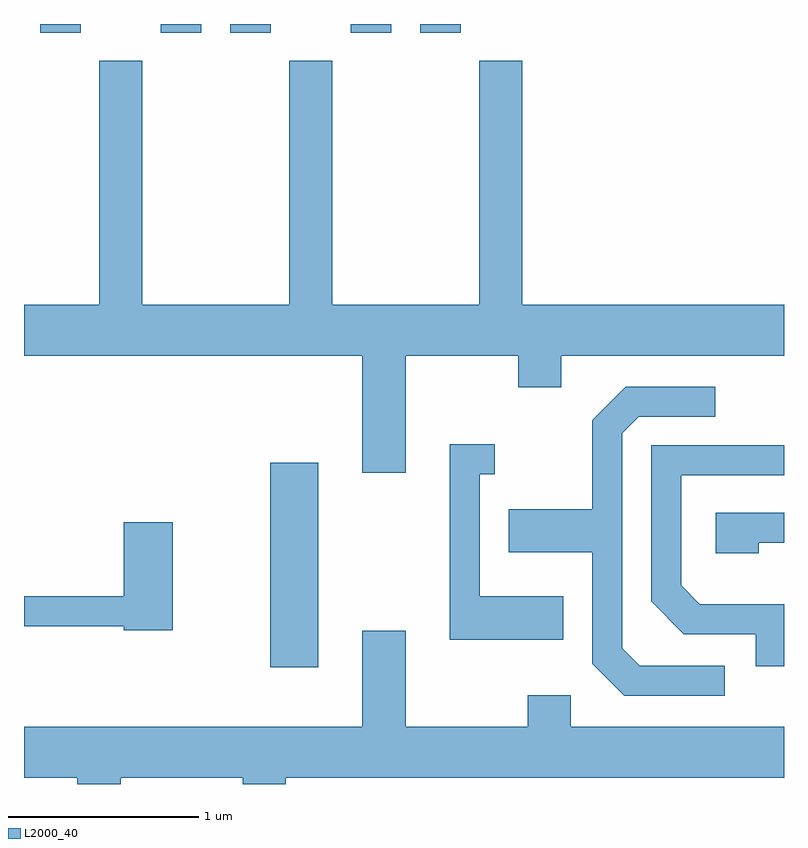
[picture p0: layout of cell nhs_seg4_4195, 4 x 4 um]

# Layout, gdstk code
import gdstk
lib = gdstk.Library(unit=1e-6, precision=1e-09)
def R(c, l, rs):  # rectangles x0, y0, x1, y1
    for r in rs: c.add(gdstk.rectangle(r[:2], r[2:], *l))
def P(c, l, *ps):  # polygons
    for p in ps: c.add(gdstk.Polygon(p, *l))
L2000_40 = (2000, 40)

nhs_seg4_4195 = lib.new_cell('nhs_seg4_4195')
R(nhs_seg4_4195, L2000_40, [(308.906,1348.596,309.159,1349.674), (307.696,1351.936,307.909,1351.982), (308.331,1351.936,308.544,1351.982), (308.696,1351.936,308.909,1351.982), (309.331,1351.936,309.544,1351.982), (309.696,1351.936,309.909,1351.982)])
P(nhs_seg4_4195, L2000_40, [(309.619,1350.236),(310.211,1350.236),(310.211,1350.071),(310.439,1350.071),(310.439,1350.236),(311.611,1350.236),(311.611,1350.504),(310.234,1350.504),(310.234,1351.789),(310.006,1351.789),(310.006,1350.504),(309.234,1350.504),(309.234,1351.789),(309.006,1351.789),(309.006,1350.504),(308.234,1350.504),(308.234,1351.789),(308.006,1351.789),(308.006,1350.504),(307.611,1350.504),(307.611,1350.236),(309.391,1350.236),(309.391,1349.621),(309.619,1349.621)],
  [(311.298,1348.604),(310.852,1348.604),(310.759,1348.697),(310.759,1349.829),(310.847,1349.916),(311.248,1349.916),(311.248,1350.074),(310.779,1350.074),(310.601,1349.897),(310.601,1349.429),(310.161,1349.429),(310.161,1349.201),(310.601,1349.201),(310.601,1348.614),(310.769,1348.446),(311.298,1348.446)],
  [(310.449,1348.969),(310.009,1348.969),(310.009,1349.611),(310.088,1349.611),(310.088,1349.769),(309.851,1349.769),(309.851,1348.741),(310.449,1348.741)],
  [(311.611,1348.929),(311.167,1348.929),(311.069,1349.027),(311.069,1349.606),(311.611,1349.606),(311.611,1349.764),(310.911,1349.764),(310.911,1348.944),(311.084,1348.771),(311.461,1348.771),(311.461,1348.601),(311.611,1348.601)],
  [(311.479,1349.251),(311.611,1349.251),(311.611,1349.409),(311.251,1349.409),(311.251,1349.196),(311.479,1349.196)],
  [(308.394,1349.359),(308.136,1349.359),(308.136,1348.969),(307.611,1348.969),(307.611,1348.811),(308.136,1348.811),(308.136,1348.791),(308.394,1348.791)],
  [(308.119,1348.016),(308.761,1348.016),(308.761,1347.982),(308.989,1347.982),(308.989,1348.016),(311.611,1348.016),(311.611,1348.284),(310.489,1348.284),(310.489,1348.449),(310.261,1348.449),(310.261,1348.284),(309.619,1348.284),(309.619,1348.789),(309.391,1348.789),(309.391,1348.284),(307.611,1348.284),(307.611,1348.016),(307.891,1348.016),(307.891,1347.982),(308.119,1347.982)])

lib.write_gds('nhs_seg4_4195.gds')
